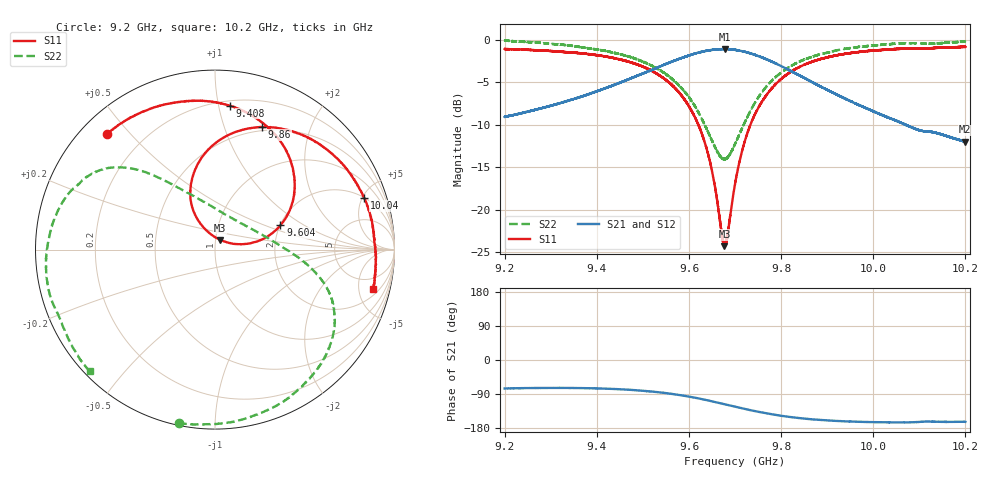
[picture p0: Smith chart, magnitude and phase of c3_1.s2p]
!Agilent Technologies,N5242A,MY51221714,A.09.90.19
!Agilent N5242A: A.09.90.19
!Date: Tuesday, March 26, 2024 15:49:43
!Correction: S11(Full 2 Port(1,2))
!S21(Full 2 Port(1,2))
!S12(Full 2 Port(1,2))
!S22(Full 2 Port(1,2))
!S2P File: Measurements: S11, S21, S12, S22:
# Hz S  dB  R 50
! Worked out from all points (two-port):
!   16001 points, 9.2 GHz to 10.2 GHz, reference 50 ohm
!   highest |S21| = -1.09 dB at 9.679 GHz (marker M1); lowest = -12.0 dB at 10.2 GHz (marker M2)
!   |S21| within 3 dB of the highest: 9.49451 GHz to 9.494687 GHz (176.6 kHz wide, 0.00186 % of centre); 9.495 GHz to 9.836 GHz (341.3 MHz wide, 3.53 % of centre)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
!   lowest |S11| = -24.3 dB at 9.677 GHz (marker M3), VSWR 1.13, Z = 52.6 + j5.7 ohm
!   |S11| at or under -10 dB: 9.620373 GHz to 9.620378 GHz (4.807 kHz wide, 5e-05 % of centre); 9.620497 GHz to 9.620519 GHz (22.24 kHz wide, 0.000231 % of centre); 9.621 GHz to 9.733 GHz (112.9 MHz wide, 1.17 % of centre)
!   |S22| runs from -14.1 to -0.1 dB; largest |S21 - S12| = 0.01
!   S11 on the Smith chart (normalised r, x): 9.2 GHz: 0.07, +0.43; 9.408 GHz: 0.24, +1.08; 9.604 GHz: 2.01, +0.65; 9.86 GHz: 0.46, +1.35; 10.04 GHz: 2.02, +5.16; 10.2 GHz: 2.77, -7.04
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9.2e9  -1.09 133.0  -9.07 -75.1  -9.05 -75.8  -0.10 -101.9
9.278812e9  -1.25 115.6  -8.06 -73.8  -8.06 -74.4  -0.38 -80.4
9.366688e9  -1.60 94.7  -6.69 -74.2  -6.69 -74.8  -0.90 -57.8
9.408125e9  -1.87 84.0  -5.90 -75.2  -5.90 -75.8  -1.21 -47.5
9.470312e9  -2.60 66.2  -4.62 -78.6  -4.62 -79.2  -2.00 -33.2
9.533375e9  -4.11 45.9  -3.24 -85.0  -3.23 -85.6  -3.44 -19.9
9.604062e9  -8.19 20.5  -1.79 -97.5  -1.77 -98.1  -7.06 -3.7
9.642812e9  -13.70 10.2  -1.25 -107.1  -1.25 -107.6  -11.00 16.1
9.677188e9  -24.28 62.0  -1.10 -116.6  -1.10 -117.1  -14.02 61.0
9.678562e9  -24.21 68.8  -1.09 -117.0  -1.10 -117.5  -14.02 63.5
9.7e9  -17.00 117.7  -1.19 -123.1  -1.18 -123.7  -12.27 94.8
9.724e9  -11.46 118.2  -1.46 -129.9  -1.45 -130.4  -9.42 114.3
9.755312e9  -7.56 107.6  -2.01 -137.7  -2.01 -138.3  -6.41 126.1
9.809062e9  -4.22 87.1  -3.33 -148.7  -3.34 -149.2  -3.50 137.0
9.860375e9  -2.72 69.1  -4.77 -155.9  -4.77 -156.3  -2.12 145.8
9.866688e9  -2.61 67.1  -4.97 -156.5  -4.97 -156.9  -2.01 146.9
9.949e9  -1.57 42.6  -7.18 -162.4  -7.19 -162.8  -1.00 163.5
1.003338e10  -1.16 21.5  -9.18 -164.5  -9.18 -165.1  -0.53 -177.7
1.004356e10  -1.11 19.1  -9.38 -164.5  -9.39 -165.1  -0.49 -175.3
1.010088e10  -1.02 6.2  -10.65 -163.3  -10.66 -163.8  -0.42 -162.0
1.019938e10  -0.85 -13.9  -11.99 -163.0  -11.98 -163.5  -0.23 -136.0
1.02e10  -0.83 -14.1  -11.99 -163.1  -12.00 -163.6  -0.24 -135.8
